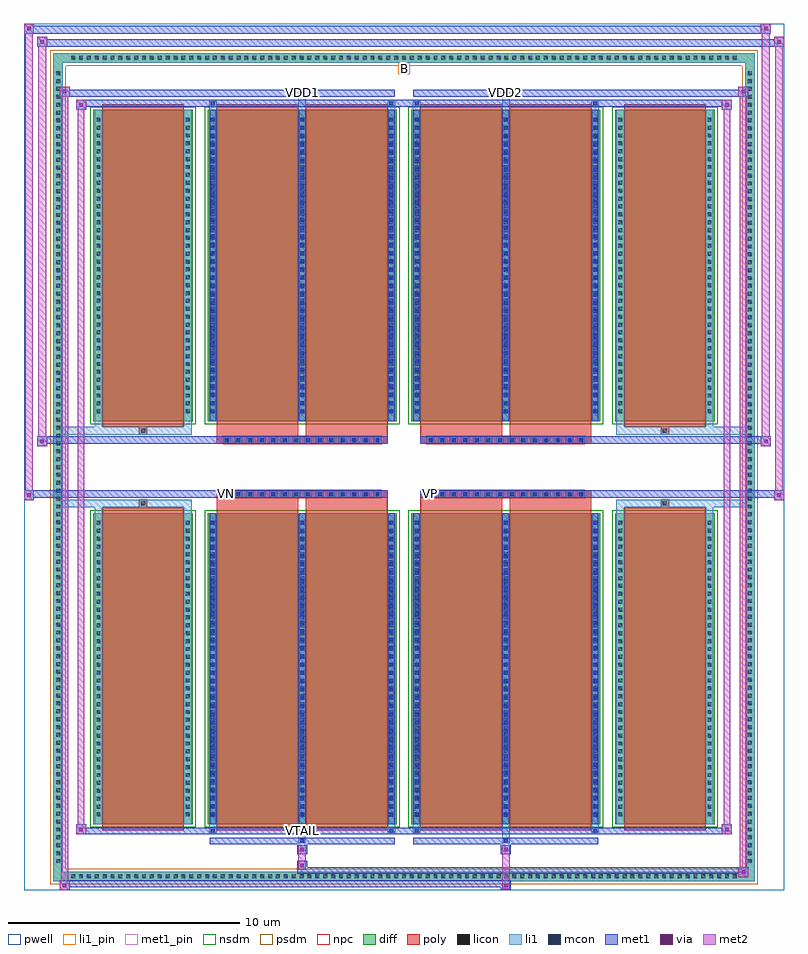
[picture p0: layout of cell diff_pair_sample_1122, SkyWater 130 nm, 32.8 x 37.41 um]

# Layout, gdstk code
import gdstk
lib = gdstk.Library(unit=1e-6, precision=5e-09)
def R(c, l, rs):  # rectangles x0, y0, x1, y1
    for r in rs: c.add(gdstk.rectangle(r[:2], r[2:], *l))
def A(c, l, x, y, w, h, nx, ny, dx, dy):  # array of equal rectangles
    R(c, l, [(x+i*dx, y+j*dy, x+i*dx+w, y+j*dy+h) for i in range(nx) for j in range(ny)])
def P(c, l, *ps):  # polygons
    for p in ps: c.add(gdstk.Polygon(p, *l))
pwell = (64, 44)
diff = (65, 20)
poly = (66, 20)
licon = (66, 44)
li1_pin = (67, 16)
li1 = (67, 20)
mcon = (67, 44)
met1_pin = (68, 16)
met1 = (68, 20)
via = (68, 44)
met2 = (69, 20)
nsdm = (93, 44)
psdm = (94, 20)
npc = (95, 20)

diff_pair_sample_1122 = lib.new_cell('diff_pair_sample_1122')
R(diff_pair_sample_1122, pwell, [(-16.4,-18.27,16.4,19.14), (-13.72,-16.46,-0.01,-0.8), (0.01,-16.46,13.72,-0.8), (-13.72,0.8,-0.01,16.46), (0.01,0.8,13.72,16.46)])
A(diff_pair_sample_1122, diff, -14.485, -17.87, 0.41, 0.41, 85, 2, 0.34, 35.33)
A(diff_pair_sample_1122, diff, -15.13, -17.205, 0.41, 0.41, 1, 101, 0, 0.34)
A(diff_pair_sample_1122, diff, 14.72, -17.205, 0.41, 0.41, 1, 101, 0, 0.34)
R(diff_pair_sample_1122, diff, [(-14.485,-17.87,14.485,-17.46), (-15.13,-17.205,-14.72,17.205), (14.72,-17.205,15.13,17.205), (-13.41,-15.415,-9.11,-1.985), (-8.47,-15.415,-0.32,-1.985), (0.32,-15.415,8.47,-1.985), (9.11,-15.415,13.41,-1.985), (-13.41,1.985,-9.11,15.415), (-8.47,1.985,-0.32,15.415), (0.32,1.985,8.47,15.415), (9.11,1.985,13.41,15.415), (-14.485,17.46,14.485,17.87)])
P(diff_pair_sample_1122, diff, [(15.13,17.87),(-15.13,17.87),(-15.13,-17.46),(-14.72,-17.46),(-14.72,17.46),(14.72,17.46),(14.72,-17.46),(-14.72,-17.46),(-15.13,-17.46),(-15.13,-17.87),(15.13,-17.87)])
A(diff_pair_sample_1122, poly, -7.81, -1.33, 0.33, 0.33, 14, 2, 0.5, 2.33)
A(diff_pair_sample_1122, poly, 0.98, -1.33, 0.33, 0.33, 14, 2, 0.5, 2.33)
R(diff_pair_sample_1122, poly, [(-13.02,-15.665,-9.5,-1.735), (-8.08,-15.665,-4.56,-1.735), (-4.23,-15.665,-0.71,-1.735), (0.71,-15.665,4.23,-1.735), (4.56,-15.665,8.08,-1.735), (9.5,-15.665,13.02,-1.735), (-11.425,-1.735,-11.095,-1.405), (-11.425,-1.735,-11.095,-1.405), (-8.08,-1.735,-4.56,-1.33), (-4.23,-1.735,-0.71,-1.33), (0.71,-1.735,4.23,-1.33), (4.56,-1.735,8.08,-1.33), (11.095,-1.735,11.425,-1.405), (11.095,-1.735,11.425,-1.405), (-8.08,-1.33,-0.71,-1), (0.71,-1.33,8.08,-1), (-8.08,1,-0.71,1.33), (0.71,1,8.08,1.33), (-8.08,1.33,-4.56,1.735), (-4.23,1.33,-0.71,1.735), (0.71,1.33,4.23,1.735), (4.56,1.33,8.08,1.735), (-11.425,1.405,-11.095,1.735), (-11.425,1.405,-11.095,1.735), (11.095,1.405,11.425,1.735), (11.095,1.405,11.425,1.735), (-13.02,1.735,-9.5,15.665), (-8.08,1.735,-4.56,15.665), (-4.23,1.735,-0.71,15.665), (0.71,1.735,4.23,15.665), (4.56,1.735,8.08,15.665), (9.5,1.735,13.02,15.665)])
A(diff_pair_sample_1122, licon, -14.365, -17.75, 0.17, 0.17, 85, 2, 0.34, 35.33)
A(diff_pair_sample_1122, licon, -15.01, -17.085, 0.17, 0.17, 1, 101, 0, 0.34)
A(diff_pair_sample_1122, licon, 14.84, -17.085, 0.17, 0.17, 1, 101, 0, 0.34)
A(diff_pair_sample_1122, licon, -13.27, -15.075, 0.17, 0.17, 1, 38, 0, 0.34)
A(diff_pair_sample_1122, licon, -9.42, -15.075, 0.17, 0.17, 1, 38, 0, 0.34)
A(diff_pair_sample_1122, licon, -8.33, -15.075, 0.17, 0.17, 3, 38, 3.85, 0.34)
A(diff_pair_sample_1122, licon, 0.46, -15.075, 0.17, 0.17, 3, 38, 3.85, 0.34)
A(diff_pair_sample_1122, licon, 9.25, -15.075, 0.17, 0.17, 1, 38, 0, 0.34)
A(diff_pair_sample_1122, licon, 13.1, -15.075, 0.17, 0.17, 1, 38, 0, 0.34)
A(diff_pair_sample_1122, licon, -7.73, -1.25, 0.17, 0.17, 14, 2, 0.5, 2.33)
A(diff_pair_sample_1122, licon, 1.06, -1.25, 0.17, 0.17, 14, 2, 0.5, 2.33)
A(diff_pair_sample_1122, licon, -13.27, 2.325, 0.17, 0.17, 1, 38, 0, 0.34)
A(diff_pair_sample_1122, licon, -9.42, 2.325, 0.17, 0.17, 1, 38, 0, 0.34)
A(diff_pair_sample_1122, licon, -8.33, 2.325, 0.17, 0.17, 3, 38, 3.85, 0.34)
A(diff_pair_sample_1122, licon, 0.46, 2.325, 0.17, 0.17, 3, 38, 3.85, 0.34)
A(diff_pair_sample_1122, licon, 9.25, 2.325, 0.17, 0.17, 1, 38, 0, 0.34)
A(diff_pair_sample_1122, licon, 13.1, 2.325, 0.17, 0.17, 1, 38, 0, 0.34)
R(diff_pair_sample_1122, licon, [(-11.345,-1.655,-11.175,-1.485), (11.175,-1.655,11.345,-1.485), (-11.345,1.485,-11.175,1.655), (11.175,1.485,11.345,1.655)])
R(diff_pair_sample_1122, li1_pin, [(-0.25,16.96,0.25,17.46)])
A(diff_pair_sample_1122, li1, -14.445, -17.83, 0.33, 0.33, 85, 2, 0.34, 35.33)
A(diff_pair_sample_1122, li1, -15.09, -17.165, 0.33, 0.33, 1, 101, 0, 0.34)
A(diff_pair_sample_1122, li1, 14.76, -17.165, 0.33, 0.33, 1, 101, 0, 0.34)
A(diff_pair_sample_1122, li1, -8.41, -15.415, 0.33, 13.43, 3, 2, 3.85, 17.4)
A(diff_pair_sample_1122, li1, 0.38, -15.415, 0.33, 13.43, 3, 2, 3.85, 17.4)
A(diff_pair_sample_1122, li1, -13.35, -15.155, 0.33, 0.33, 1, 38, 0, 0.34)
A(diff_pair_sample_1122, li1, -9.5, -15.155, 0.33, 0.33, 1, 38, 0, 0.34)
A(diff_pair_sample_1122, li1, -8.41, -15.155, 0.33, 0.33, 3, 38, 3.85, 0.34)
A(diff_pair_sample_1122, li1, 0.38, -15.155, 0.33, 0.33, 3, 38, 3.85, 0.34)
A(diff_pair_sample_1122, li1, 9.17, -15.155, 0.33, 0.33, 1, 38, 0, 0.34)
A(diff_pair_sample_1122, li1, 13.02, -15.155, 0.33, 0.33, 1, 38, 0, 0.34)
A(diff_pair_sample_1122, li1, -8.33, -15.085, 0.17, 0.17, 3, 36, 3.85, 0.36)
A(diff_pair_sample_1122, li1, -8.33, -15.085, 0.17, 12.77, 3, 2, 3.85, 17.4)
A(diff_pair_sample_1122, li1, 0.46, -15.085, 0.17, 0.17, 3, 36, 3.85, 0.36)
A(diff_pair_sample_1122, li1, 0.46, -15.085, 0.17, 12.77, 3, 2, 3.85, 17.4)
A(diff_pair_sample_1122, li1, -7.81, -1.33, 0.33, 0.33, 14, 2, 0.5, 2.33)
A(diff_pair_sample_1122, li1, 0.98, -1.33, 0.33, 0.33, 14, 2, 0.5, 2.33)
A(diff_pair_sample_1122, li1, -13.35, 2.245, 0.33, 0.33, 1, 38, 0, 0.34)
A(diff_pair_sample_1122, li1, -9.5, 2.245, 0.33, 0.33, 1, 38, 0, 0.34)
A(diff_pair_sample_1122, li1, -8.41, 2.245, 0.33, 0.33, 3, 38, 3.85, 0.34)
A(diff_pair_sample_1122, li1, 0.38, 2.245, 0.33, 0.33, 3, 38, 3.85, 0.34)
A(diff_pair_sample_1122, li1, 9.17, 2.245, 0.33, 0.33, 1, 38, 0, 0.34)
A(diff_pair_sample_1122, li1, 13.02, 2.245, 0.33, 0.33, 1, 38, 0, 0.34)
A(diff_pair_sample_1122, li1, -8.33, 2.315, 0.17, 0.17, 3, 36, 3.85, 0.36)
A(diff_pair_sample_1122, li1, 0.46, 2.315, 0.17, 0.17, 3, 36, 3.85, 0.36)
R(diff_pair_sample_1122, li1, [(-15.13,-17.87,-14.72,-17.46), (-15.13,-17.87,-14.72,-17.46), (-14.72,-17.87,14.72,-17.46), (14.72,-17.87,15.13,-17.46), (14.72,-17.87,15.13,-17.46), (-15.13,-17.46,-14.72,17.46), (14.72,-17.46,15.13,17.46), (-4.56,-16.22,-4.23,-15.415), (-4.48,-16.22,-4.31,-16.05), (4.23,-16.22,4.56,-15.415), (4.31,-16.22,4.48,-16.05), (-8.41,-15.79,-8.08,-15.415), (-8.33,-15.79,-8.16,-15.62), (-0.71,-15.79,-0.38,-15.415), (-0.63,-15.79,-0.46,-15.62), (0.38,-15.79,0.71,-15.415), (0.46,-15.79,0.63,-15.62), (8.08,-15.79,8.41,-15.415), (8.16,-15.79,8.33,-15.62), (-13.35,-15.415,-13.02,-1.985), (-9.5,-15.415,-9.17,-1.985), (9.17,-15.415,9.5,-1.985), (13.02,-15.415,13.35,-1.985), (-13.35,-1.985,-13.02,-1.405), (-9.5,-1.985,-9.17,-1.405), (9.17,-1.985,9.5,-1.405), (13.02,-1.985,13.35,-1.405), (-15.13,-1.735,-11.425,-1.405), (-13.35,-1.735,-11.425,-1.405), (-11.425,-1.735,-11.095,-1.405), (-11.095,-1.735,-9.17,-1.405), (9.17,-1.735,11.095,-1.405), (11.095,-1.735,11.425,-1.405), (11.095,-1.735,15.13,-1.405), (11.425,-1.735,13.35,-1.405), (-15.13,1.405,-11.425,1.735), (-13.35,1.405,-11.425,1.735), (-13.35,1.405,-13.02,1.985), (-11.425,1.405,-11.095,1.735), (-11.095,1.405,-9.17,1.735), (-9.5,1.405,-9.17,1.985), (9.17,1.405,11.095,1.735), (9.17,1.405,9.5,1.985), (11.095,1.405,11.425,1.735), (11.095,1.405,15.13,1.735), (11.425,1.405,13.35,1.735), (13.02,1.405,13.35,1.985), (-13.35,1.985,-13.02,15.415), (-9.5,1.985,-9.17,15.415), (9.17,1.985,9.5,15.415), (13.02,1.985,13.35,15.415), (-8.41,15.415,-8.08,15.79), (-4.56,15.415,-4.23,16.22), (-0.71,15.415,-0.38,15.79), (0.38,15.415,0.71,15.79), (4.23,15.415,4.56,16.22), (8.08,15.415,8.41,15.79), (-8.33,15.62,-8.16,15.79), (-0.63,15.62,-0.46,15.79), (0.46,15.62,0.63,15.79), (8.16,15.62,8.33,15.79), (-4.48,16.05,-4.31,16.22), (4.31,16.05,4.48,16.22), (-15.13,17.46,-14.72,17.87), (-15.13,17.46,-14.72,17.87), (-14.72,17.46,14.72,17.87), (14.72,17.46,15.13,17.87), (14.72,17.46,15.13,17.87)])
A(diff_pair_sample_1122, mcon, -8.33, -15.085, 0.17, 0.17, 3, 36, 3.85, 0.36)
A(diff_pair_sample_1122, mcon, 0.46, -15.085, 0.17, 0.17, 3, 36, 3.85, 0.36)
A(diff_pair_sample_1122, mcon, -7.73, -1.25, 0.17, 0.17, 14, 2, 0.5, 2.33)
A(diff_pair_sample_1122, mcon, 1.06, -1.25, 0.17, 0.17, 14, 2, 0.5, 2.33)
A(diff_pair_sample_1122, mcon, -8.33, 2.315, 0.17, 0.17, 3, 36, 3.85, 0.36)
A(diff_pair_sample_1122, mcon, 0.46, 2.315, 0.17, 0.17, 3, 36, 3.85, 0.36)
R(diff_pair_sample_1122, mcon, [(-4.48,-16.22,-4.31,-16.05), (4.31,-16.22,4.48,-16.05), (-8.33,-15.79,-8.16,-15.62), (-0.63,-15.79,-0.46,-15.62), (0.46,-15.79,0.63,-15.62), (8.16,-15.79,8.33,-15.62), (-8.33,15.62,-8.16,15.79), (-0.63,15.62,-0.46,15.79), (0.46,15.62,0.63,15.79), (8.16,15.62,8.33,15.79), (-4.48,16.05,-4.31,16.22), (4.31,16.05,4.48,16.22)])
R(diff_pair_sample_1122, met1_pin, [(-4.53,-15.83,-4.26,-15.56), (-7.78,-1.29,-7.51,-1.02), (1.01,-1.29,1.28,-1.02), (-4.53,16.01,-4.26,16.28), (4.26,16.01,4.53,16.28)])
A(diff_pair_sample_1122, met1, -8.39, -15.415, 0.29, 13.43, 3, 2, 3.85, 17.4)
A(diff_pair_sample_1122, met1, 0.4, -15.415, 0.29, 13.43, 3, 2, 3.85, 17.4)
A(diff_pair_sample_1122, met1, -8.39, -15.145, 0.29, 0.29, 3, 36, 3.85, 0.36)
A(diff_pair_sample_1122, met1, 0.4, -15.145, 0.29, 0.29, 3, 36, 3.85, 0.36)
A(diff_pair_sample_1122, met1, -7.79, -1.31, 0.29, 0.29, 14, 2, 0.5, 2.33)
A(diff_pair_sample_1122, met1, 1, -1.31, 0.29, 0.29, 14, 2, 0.5, 2.33)
A(diff_pair_sample_1122, met1, -8.39, 2.255, 0.29, 0.29, 3, 36, 3.85, 0.36)
A(diff_pair_sample_1122, met1, 0.4, 2.255, 0.29, 0.29, 3, 36, 3.85, 0.36)
R(diff_pair_sample_1122, met1, [(-14.86,-18.27,-14.43,-17.84), (4.18,-18.27,4.61,-17.84), (-14.86,-18.13,4.61,-17.84), (14.43,-17.7,14.86,-17.27), (-4.61,-17.56,14.86,-17.27), (-4.61,-17.42,-4.18,-16.99), (-4.61,-16.71,-4.18,-16.28), (4.18,-16.71,4.61,-16.28), (-8.39,-16.28,-0.4,-15.99), (-4.54,-16.28,-4.25,-15.99), (0.4,-16.28,8.39,-15.99), (4.25,-16.28,4.54,-15.99), (-14.15,-15.85,-13.72,-15.42), (-14.15,-15.85,-8.39,-15.56), (-8.39,-15.85,-8.1,-15.56), (-8.39,-15.85,-0.4,-15.56), (-0.69,-15.85,-0.4,-15.56), (-0.4,-15.85,0.4,-15.56), (0.4,-15.85,0.69,-15.56), (0.4,-15.85,8.39,-15.56), (8.1,-15.85,8.39,-15.56), (8.39,-15.85,14.15,-15.56), (13.72,-15.85,14.15,-15.42), (-16.4,-1.43,-15.97,-1), (15.97,-1.43,16.4,-1), (-16.4,-1.33,-0.71,-1), (-8.08,-1.33,-0.71,-1), (0.71,-1.33,8.08,-1), (0.71,-1.33,16.4,-1), (-15.83,0.9,-15.4,1.33), (15.4,0.9,15.83,1.33), (-15.83,1,-8.08,1.33), (-8.08,1,-0.71,1.33), (0.71,1,8.08,1.33), (8.08,1,15.83,1.33), (-14.15,15.42,-13.72,15.85), (13.72,15.42,14.15,15.85), (-14.15,15.56,-8.39,15.85), (-8.39,15.56,-8.1,15.85), (-8.39,15.56,-0.4,15.85), (-0.69,15.56,-0.4,15.85), (-0.4,15.56,0.4,15.85), (0.4,15.56,0.69,15.85), (0.4,15.56,8.39,15.85), (8.1,15.56,8.39,15.85), (8.39,15.56,14.15,15.85), (-14.86,15.99,-14.43,16.42), (-14.86,15.99,-8.39,16.28), (-8.39,15.99,-0.4,16.28), (-4.54,15.99,-4.25,16.28), (0.4,15.99,8.39,16.28), (4.25,15.99,4.54,16.28), (8.39,15.99,14.86,16.28), (14.43,15.99,14.86,16.42), (-15.83,18.14,-15.4,18.57), (-15.83,18.14,-13.72,18.47), (-13.72,18.14,13.72,18.47), (13.72,18.14,16.4,18.47), (15.97,18.14,16.4,18.57), (-16.4,18.71,-15.97,19.14), (-16.4,18.71,-13.72,19.04), (-13.72,18.71,13.72,19.04), (13.72,18.71,15.83,19.04), (15.4,18.71,15.83,19.14)])
R(diff_pair_sample_1122, via, [(-14.72,-18.13,-14.57,-17.98), (4.32,-18.13,4.47,-17.98), (14.57,-17.56,14.72,-17.41), (-4.47,-17.28,-4.32,-17.13), (-4.47,-16.57,-4.32,-16.42), (4.32,-16.57,4.47,-16.42), (-14.01,-15.71,-13.86,-15.56), (13.86,-15.71,14.01,-15.56), (-16.26,-1.29,-16.11,-1.14), (16.11,-1.29,16.26,-1.14), (-15.69,1.04,-15.54,1.19), (15.54,1.04,15.69,1.19), (-14.01,15.56,-13.86,15.71), (13.86,15.56,14.01,15.71), (-14.72,16.13,-14.57,16.28), (14.57,16.13,14.72,16.28), (-15.69,18.28,-15.54,18.43), (16.11,18.28,16.26,18.43), (-16.26,18.85,-16.11,19), (15.54,18.85,15.69,19)])
R(diff_pair_sample_1122, met2, [(-14.86,-18.27,-14.43,-17.84), (-14.79,-18.27,-14.5,16.42), (-14.5,-18.27,-14.43,-17.84), (-14.81,-18.22,-14.48,-17.89), (4.23,-18.22,4.56,-17.89), (4.23,-17.89,4.56,-16.66), (14.43,-17.7,14.86,-17.27), (14.5,-17.7,14.79,16.42), (14.79,-17.7,14.86,-17.27), (14.48,-17.65,14.81,-17.32), (-4.56,-17.37,-4.23,-17.04), (-4.56,-17.04,-4.23,-16.66), (-4.56,-16.66,-4.23,-16.33), (4.23,-16.66,4.56,-16.33), (-14.15,-15.85,-13.72,-15.42), (-14.08,-15.85,-13.79,15.85), (-13.79,-15.85,-13.72,-15.42), (13.72,-15.85,14.15,-15.42), (13.79,-15.85,14.08,15.85), (14.08,-15.85,14.15,-15.42), (-14.1,-15.8,-13.77,-15.47), (13.77,-15.8,14.1,-15.47), (-16.4,-1.43,-15.97,-1), (-16.35,-1.43,-16.02,19.14), (-16.02,-1.43,-15.97,-1), (15.97,-1.43,16.4,-1), (16.02,-1.43,16.35,18.57), (16.35,-1.43,16.4,-1), (-16.35,-1.38,-16.02,-1.05), (16.02,-1.38,16.35,-1.05), (-15.83,0.9,-15.4,1.33), (-15.78,0.9,-15.45,18.57), (-15.45,0.9,-15.4,1.33), (15.4,0.9,15.83,1.33), (15.45,0.9,15.78,19.14), (15.78,0.9,15.83,1.33), (-15.78,0.95,-15.45,1.28), (15.45,0.95,15.78,1.28), (-14.15,15.42,-13.72,15.85), (-13.79,15.42,-13.72,15.85), (13.72,15.42,14.15,15.85), (14.08,15.42,14.15,15.85), (-14.1,15.47,-13.77,15.8), (13.77,15.47,14.1,15.8), (-14.86,15.99,-14.43,16.42), (-14.5,15.99,-14.43,16.42), (14.43,15.99,14.86,16.42), (14.79,15.99,14.86,16.42), (-14.81,16.04,-14.48,16.37), (14.48,16.04,14.81,16.37), (-15.83,18.14,-15.4,18.57), (-15.45,18.14,-15.4,18.57), (15.97,18.14,16.4,18.57), (16.35,18.14,16.4,18.57), (-15.78,18.19,-15.45,18.52), (16.02,18.19,16.35,18.52), (-16.4,18.71,-15.97,19.14), (-16.02,18.71,-15.97,19.14), (15.4,18.71,15.83,19.14), (15.78,18.71,15.83,19.14), (-16.35,18.76,-16.02,19.09), (15.45,18.76,15.78,19.09)])
R(diff_pair_sample_1122, nsdm, [(-13.54,-15.545,-8.98,-1.855), (-8.6,-15.545,-0.19,-1.855), (0.19,-15.545,8.6,-1.855), (8.98,-15.545,13.54,-1.855), (-13.54,1.855,-8.98,15.545), (-8.6,1.855,-0.19,15.545), (0.19,1.855,8.6,15.545), (8.98,1.855,13.54,15.545)])
P(diff_pair_sample_1122, psdm, [(15.26,18),(-15.26,18),(-15.26,-17.33),(-14.59,-17.33),(-14.59,17.33),(14.59,17.33),(14.59,-17.33),(-14.59,-17.33),(-15.26,-17.33),(-15.26,-18),(15.26,-18)])
A(diff_pair_sample_1122, npc, -7.83, -1.35, 0.37, 0.37, 14, 2, 0.5, 2.33)
A(diff_pair_sample_1122, npc, 0.96, -1.35, 0.37, 0.37, 14, 2, 0.5, 2.33)
R(diff_pair_sample_1122, npc, [(-11.445,-1.755,-11.075,-1.385), (11.075,-1.755,11.445,-1.385), (-7.83,-1.35,-6.96,-0.98), (-7.83,-1.35,-6.96,-0.98), (-7.33,-1.35,-6.46,-0.98), (-7.33,-1.35,-6.46,-0.98), (-6.83,-1.35,-5.96,-0.98), (-6.83,-1.35,-5.96,-0.98), (-6.33,-1.35,-5.46,-0.98), (-6.33,-1.35,-5.46,-0.98), (-5.83,-1.35,-4.96,-0.98), (-5.83,-1.35,-4.96,-0.98), (-5.33,-1.35,-4.46,-0.98), (-5.33,-1.35,-4.46,-0.98), (-4.83,-1.35,-3.96,-0.98), (-4.83,-1.35,-3.96,-0.98), (-4.33,-1.35,-3.46,-0.98), (-4.33,-1.35,-3.46,-0.98), (-3.83,-1.35,-2.96,-0.98), (-3.83,-1.35,-2.96,-0.98), (-3.33,-1.35,-2.46,-0.98), (-3.33,-1.35,-2.46,-0.98), (-2.83,-1.35,-1.96,-0.98), (-2.83,-1.35,-1.96,-0.98), (-2.33,-1.35,-1.46,-0.98), (-2.33,-1.35,-1.46,-0.98), (-1.83,-1.35,-0.96,-0.98), (-1.83,-1.35,-0.96,-0.98), (0.96,-1.35,1.83,-0.98), (0.96,-1.35,1.83,-0.98), (1.46,-1.35,2.33,-0.98), (1.46,-1.35,2.33,-0.98), (1.96,-1.35,2.83,-0.98), (1.96,-1.35,2.83,-0.98), (2.46,-1.35,3.33,-0.98), (2.46,-1.35,3.33,-0.98), (2.96,-1.35,3.83,-0.98), (2.96,-1.35,3.83,-0.98), (3.46,-1.35,4.33,-0.98), (3.46,-1.35,4.33,-0.98), (3.96,-1.35,4.83,-0.98), (3.96,-1.35,4.83,-0.98), (4.46,-1.35,5.33,-0.98), (4.46,-1.35,5.33,-0.98), (4.96,-1.35,5.83,-0.98), (4.96,-1.35,5.83,-0.98), (5.46,-1.35,6.33,-0.98), (5.46,-1.35,6.33,-0.98), (5.96,-1.35,6.83,-0.98), (5.96,-1.35,6.83,-0.98), (6.46,-1.35,7.33,-0.98), (6.46,-1.35,7.33,-0.98), (6.96,-1.35,7.83,-0.98), (6.96,-1.35,7.83,-0.98), (-7.83,0.98,-6.96,1.35), (-7.83,0.98,-6.96,1.35), (-7.33,0.98,-6.46,1.35), (-7.33,0.98,-6.46,1.35), (-6.83,0.98,-5.96,1.35), (-6.83,0.98,-5.96,1.35), (-6.33,0.98,-5.46,1.35), (-6.33,0.98,-5.46,1.35), (-5.83,0.98,-4.96,1.35), (-5.83,0.98,-4.96,1.35), (-5.33,0.98,-4.46,1.35), (-5.33,0.98,-4.46,1.35), (-4.83,0.98,-3.96,1.35), (-4.83,0.98,-3.96,1.35), (-4.33,0.98,-3.46,1.35), (-4.33,0.98,-3.46,1.35), (-3.83,0.98,-2.96,1.35), (-3.83,0.98,-2.96,1.35), (-3.33,0.98,-2.46,1.35), (-3.33,0.98,-2.46,1.35), (-2.83,0.98,-1.96,1.35), (-2.83,0.98,-1.96,1.35), (-2.33,0.98,-1.46,1.35), (-2.33,0.98,-1.46,1.35), (-1.83,0.98,-0.96,1.35), (-1.83,0.98,-0.96,1.35), (0.96,0.98,1.83,1.35), (0.96,0.98,1.83,1.35), (1.46,0.98,2.33,1.35), (1.46,0.98,2.33,1.35), (1.96,0.98,2.83,1.35), (1.96,0.98,2.83,1.35), (2.46,0.98,3.33,1.35), (2.46,0.98,3.33,1.35), (2.96,0.98,3.83,1.35), (2.96,0.98,3.83,1.35), (3.46,0.98,4.33,1.35), (3.46,0.98,4.33,1.35), (3.96,0.98,4.83,1.35), (3.96,0.98,4.83,1.35), (4.46,0.98,5.33,1.35), (4.46,0.98,5.33,1.35), (4.96,0.98,5.83,1.35), (4.96,0.98,5.83,1.35), (5.46,0.98,6.33,1.35), (5.46,0.98,6.33,1.35), (5.96,0.98,6.83,1.35), (5.96,0.98,6.83,1.35), (6.46,0.98,7.33,1.35), (6.46,0.98,7.33,1.35), (6.96,0.98,7.83,1.35), (6.96,0.98,7.83,1.35), (-11.445,1.385,-11.075,1.755), (11.075,1.385,11.445,1.755)])
diff_pair_sample_1122.add(gdstk.Label('VTAIL', (-4.395,-15.695), layer=68, texttype=5))
diff_pair_sample_1122.add(gdstk.Label('VN', (-7.645,-1.155), layer=68, texttype=5))
diff_pair_sample_1122.add(gdstk.Label('VP', (1.145,-1.155), layer=68, texttype=5))
diff_pair_sample_1122.add(gdstk.Label('B', (0,17.21), layer=67, texttype=5))
diff_pair_sample_1122.add(gdstk.Label('VDD2', (4.395,16.145), layer=68, texttype=5))
diff_pair_sample_1122.add(gdstk.Label('VDD1', (-4.395,16.145), layer=68, texttype=5))

lib.write_gds('diff_pair_sample_1122.gds')
